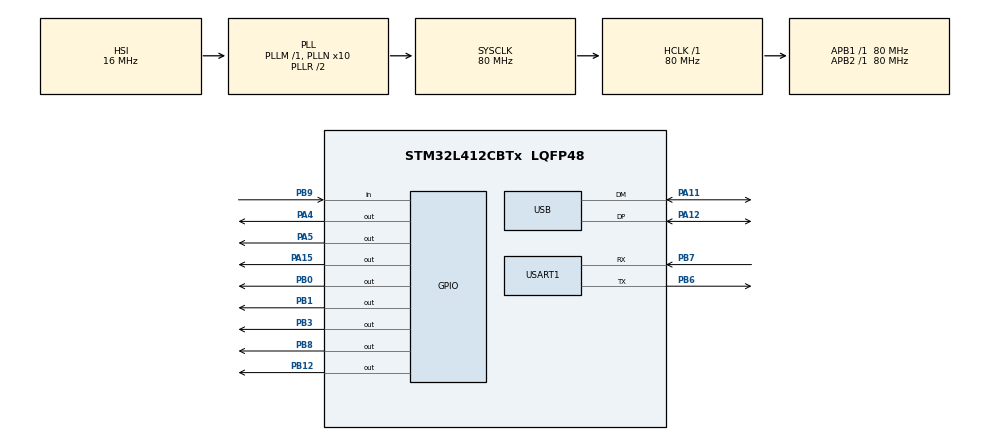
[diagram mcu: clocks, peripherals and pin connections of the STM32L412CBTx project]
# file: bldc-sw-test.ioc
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Mcu.Family=STM32L4
Mcu.Name=STM32L412CBTx
Mcu.Package=LQFP48
NVIC.PriorityGroup=NVIC_PRIORITYGROUP_4
NVIC.USB_IRQn=true\:0\:0\:false\:false\:true\:false\:true\:true
PA1.Signal=SPI1_SCK
PA10.Signal=I2C1_SDA
PA11.Mode=Device
PA11.Signal=USB_DM
PA12.Mode=Device
PA12.Signal=USB_DP
PA15\ (JTDI).Signal=GPIO_Output
PA2.Signal=USART2_TX
PA3.Signal=USART2_RX
PA4.Signal=GPIO_Output
PA5.Signal=GPIO_Output
PA6.Signal=SPI1_MISO
PA7.Signal=I2C3_SCL
PA9.Signal=I2C1_SCL
PB0.Signal=GPIO_Output
PB1.Signal=GPIO_Output
PB10.Signal=I2C2_SCL
PB11.Signal=I2C2_SDA
PB12.Signal=GPIO_Output
PB13.Signal=SPI2_SCK
PB14.Signal=SPI2_MISO
PB15.Signal=SPI2_MOSI
PB3\ (JTDO/TRACESWO).Signal=GPIO_Output
PB4\ (NJTRST).Signal=I2C3_SDA
PB5.Signal=SPI1_MOSI
PB6.Mode=Asynchronous
PB6.Signal=USART1_TX
PB7.Mode=Asynchronous
PB7.Signal=USART1_RX
PB8.Signal=GPIO_Output
PB9.Signal=GPIO_Input
ProjectManager.HeapSize=0x200
ProjectManager.StackSize=0x400
ProjectManager.TargetToolchain=STM32CubeIDE
RCC.ADCFreq_Value=80000000
RCC.AHBFreq_Value=80000000
RCC.APB1Freq_Value=80000000
RCC.APB1TimFreq_Value=80000000
RCC.APB2Freq_Value=80000000
RCC.APB2TimFreq_Value=80000000
RCC.CortexFreq_Value=80000000
RCC.HCLKFreq_Value=80000000
RCC.HSE_VALUE=8000000
RCC.HSI48_VALUE=48000000
RCC.HSI_VALUE=16000000
RCC.LSE_VALUE=32768
RCC.MSIClockRange=RCC_MSIRANGE_11
RCC.MSI_VALUE=48000000
RCC.PLLN=10
RCC.PLLSourceVirtual=RCC_PLLSOURCE_HSI
RCC.SYSCLKFreq_VALUE=80000000
RCC.SYSCLKSource=RCC_SYSCLKSOURCE_PLLCLK
RCC.USBFreq_Value=48000000
RCC.VCOOutputFreq_Value=160000000
USART1.VirtualMode-Asynchronous=VM_ASYNC
USB_DEVICE.CLASS_NAME_FS=CDC
USB_DEVICE.VirtualMode=Cdc
USB_DEVICE.VirtualModeFS=Cdc_FS
VP_USB_DEVICE_VS_USB_DEVICE_CDC_FS.Mode=CDC_FS
board=custom

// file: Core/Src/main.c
/* USER CODE BEGIN Header */
/**
  ******************************************************************************
  * @file           : main.c
  * @brief          : Main program body
  ******************************************************************************
  * @attention
  *
  * Copyright (c) 2026 STMicroelectronics.
  * All rights reserved.
  *
  * This software is licensed under terms that can be found in the LICENSE file
  * in the root directory of this software component.
  * If no LICENSE file comes with this software, it is provided AS-IS.
  *
  ******************************************************************************
  */
/* USER CODE END Header */
#include "main.h"
#include "usb_device.h"

/* USER CODE BEGIN Includes */
#include "usbd_cdc_if.h"
#include "string.h"
#include "tmc/ic/TMC9660/TMC9660.h"
#include "tmc/ic/TMC9660/TMC9660_BL_HW_Abstraction.h"
#include "tmc/ic/TMC9660/TMC9660_PARAM_HW_Abstraction.h"
#include <stdio.h>
#include <stdarg.h>
/* USER CODE END Includes */

UART_HandleTypeDef huart1;

/* USER CODE BEGIN PV */
uint16_t tmc9660_id = 0;
int32_t chipID = 0;
uint8_t tmc_detected = false;
/* USER CODE END PV */

void SystemClock_Config(void);
static void MX_GPIO_Init(void);
static void MX_USART1_UART_Init(void);
/* USER CODE BEGIN PFP */
bool tmc9660_app_GotoBootMode(uint16_t icID);
void tmc9660_UART_WriteRead(uint8_t channel, uint8_t *data, size_t writeLength, size_t readLength);
void UART_Printf(const char* fmt, ...);
void tmc9660_app_HoldInResetUntilReady(void);
void tmc9660_app_ReportConditionAndHalt(void);
bool tmc9660_app_VerifyPLLStatus(uint16_t icID);
void tmc9660_app_DebugStatus(uint16_t icID);
void tmc9660_app_DebugGeneralStatus(uint16_t icID);
void tmc9660_app_DebugGeneralErrors(uint16_t icID);
void tmc9660_app_DebugGDRVErrors(uint16_t icID);
bool tmc9660_app_ClearErrorsManual(uint16_t icID, uint32_t sysMask, uint32_t gdrvMask);
void tmc9660_app_EnableDrive(void);
void tmc9660_app_DisableDrive(void);
/* USER CODE END PFP */

/* USER CODE BEGIN 0 */
/* Implementation of mandatory timestamp callback */
uint32_t tmc_getMicrosecondTimestamp(void)
{
    /* Return a value in microseconds.
       This example assumes a 80MHz SystemCoreClock. */
    return (uint32_t)(HAL_GetTick() * 1000);
}

/* Mandatory bus type callback */
TMC9660BusType tmc9660_getBusType(uint16_t icID)
{
    return TMC9660_BUS_UART;
}

/* Mandatory bus address callback */
TMC9660BusAddresses tmc9660_getBusAddresses(uint16_t icID)
{
    TMC9660BusAddresses addr;
    addr.device = 1;   // Default device address
    addr.host = 255;   // Default host address
    return addr;
}

/* Mandatory physical UART transport callback */
bool tmc9660_readWriteUART(uint16_t icID, uint8_t *data, size_t writeLength, size_t readLength)
{
	/*
	 * typedef enum
		{
		  HAL_OK       = 0x00,
		  HAL_ERROR    = 0x01,
		  HAL_BUSY     = 0x02,
		  HAL_TIMEOUT  = 0x03
		} HAL_StatusTypeDef;
	 */
	// 1. Transmit the command
	if (HAL_UART_Transmit(&huart1, data, (uint16_t)writeLength, 100) != HAL_OK) return false;

	// 2. Receive the reply
	if (readLength > 0)
	{
		uint8_t byteIn = 0;

		// --- THE FIX: Line-Turnaround Glitch Filter ---
		// Read bytes one by one until we get a non-zero byte.
		// This silently discards the 0x00 glitch and captures the true start byte (e.g., 255).
		do {
			HAL_StatusTypeDef status = HAL_UART_Receive(&huart1, &byteIn, 1, 50);
			if (status != HAL_OK) {
				return false; // Timeout
			}
		} while (byteIn == 0x00);

		// Store the first valid byte (255) at the correct index (0)
		data[0] = byteIn;

		// Read the remaining bytes of the datagram (which will now include the CRC!)
		if (readLength > 1) {
			if (HAL_UART_Receive(&huart1, &data[1], (uint16_t)(readLength - 1), 100) != HAL_OK) {
				return false;
			}
		}
	}

	return true;
}
/* Debug Helper: Print formatted strings to USART2 (PC Terminal) */
void UART_Printf(const char* fmt, ...) {
    char buf[128];
    va_list args;
    va_start(args, fmt);
    int len = vsnprintf(buf, sizeof(buf), fmt, args);
    va_end(args);
    if (len > 0) CDC_Transmit_FS((uint8_t*)buf, len);

    // Allow Print to goto serial
    // TODO: MUST REMOVE DELAY if ported to RTOS
    HAL_Delay(5);
}

void Test_TMC9660_Status(int32_t status) {
    TMC9660ParamStatus test = (TMC9660ParamStatus)status;

    switch (test) {
        case TMC9660_PARAMSTATUS_CHKERROR:
            UART_Printf("STATUS: TMC9660_PARAMSTATUS_CHKERROR (Checksum error during communication)\r\n");
            break;
        case TMC9660_PARAMSTATUS_INVALID_CMD:
            UART_Printf("STATUS: TMC9660_PARAMSTATUS_INVALID_CMD (Invalid command number)\r\n");
            break;
        case TMC9660_PARAMSTATUS_WRONG_TYPE:
            UART_Printf("STATUS: TMC9660_PARAMSTATUS_WRONG_TYPE (Invalid type number)\r\n");
            break;
        case TMC9660_PARAMSTATUS_INVALID_VALUE:
            UART_Printf("STATUS: TMC9660_PARAMSTATUS_INVALID_VALUE (Invalid value)\r\n");
            break;
        case TMC9660_PARAMSTATUS_CMD_NOT_AVAILABLE:
            UART_Printf("STATUS: TMC9660_PARAMSTATUS_CMD_NOT_AVAILABLE (Command currently not available)\r\n");
            break;
        case TMC9660_PARAMSTATUS_CMD_LOAD_ERROR:
            UART_Printf("STATUS: TMC9660_PARAMSTATUS_CMD_LOAD_ERROR (Failed to load command into script memory)\r\n");
            break;
        case TMC9660_PARAMSTATUS_MAX_EXCEEDED:
            UART_Printf("STATUS: TMC9660_PARAMSTATUS_MAX_EXCEEDED (Maximum exceeded)\r\n");
            break;
        case TMC9660_PARAMSTATUS_CMD_DOWNLOAD_NOT_POSSIBLE:
            UART_Printf("STATUS: TMC9660_PARAMSTATUS_CMD_DOWNLOAD_NOT_POSSIBLE (Script memory loading not available)\r\n");
            break;
        case TMC9660_PARAMSTATUS_OK:
            UART_Printf("STATUS: TMC9660_PARAMSTATUS_OK (Success)\r\n");
            break;
        case TMC9660_PARAMSTATUS_CMD_LOADED:
            UART_Printf("STATUS: TMC9660_PARAMSTATUS_CMD_LOADED (Command successfully loaded into script memory)\r\n");
            break;
        default:
            UART_Printf("STATUS: UNKNOWN (Code: %ld)\r\n", status);
            break;
    }
}

/* * Holds the TMC9660 in hardware reset and waits for a user start command.
 * Note: Uses PA15 (RSTN) and monitors PB9 (FAULTN) per schematic labels.
 */
void tmc9660_app_HoldInResetUntilReady(void) {
    uint8_t user_cmd = 0;
    extern uint8_t UserRxBufferFS[]; // From usbd_cdc_if.c

    // 1. Assert Hardware Reset (Active Low)
    HAL_GPIO_WritePin(GPIOA, GPIO_PIN_15, GPIO_PIN_RESET);

    // 2. Ensure Wake is high (PB8 is DRIVER_WAKE in schematic)
    HAL_GPIO_WritePin(GPIOB, GPIO_PIN_8, GPIO_PIN_SET);

    // 3. Ensure Drive_En is low (PB3)
    HAL_GPIO_WritePin(GPIOB, GPIO_PIN_3, GPIO_PIN_RESET);

    UART_Printf("\r\n[SYSTEM] TMC9660 held in RESET to prevent brownout.\r\n");
    UART_Printf("[SYSTEM] Wait for DC link capacitors to stabilize...\r\n");
    UART_Printf("[SYSTEM] Press 's' to release driver and start init: ");

    // 3. Blocking loop until 's' is received via USB CDC
    while (user_cmd != 's') {
        // Simple polling of the CDC receive buffer
        if (UserRxBufferFS[0] != 0) {
            user_cmd = UserRxBufferFS[0];
            UserRxBufferFS[0] = 0; // Clear for next use
        }

        // Optional: Monitor Fault pin (PB9) while waiting
        if (HAL_GPIO_ReadPin(GPIOB, GPIO_PIN_9) == GPIO_PIN_RESET) {
            // Add warning if driver indicates a hardware fault during standby
        }

        HAL_Delay(10);
    }

    // 5. Release Reset
    HAL_GPIO_WritePin(GPIOA, GPIO_PIN_15, GPIO_PIN_SET);

    // 6. Delay Block
    HAL_Delay(100); // Allow TMC9660 internal LDOs to ramp up
    UART_Printf("\r\n[SYSTEM] Driver Released. Proceeding to Init...\r\n");
}

/**
 * @brief Protects the system by disabling the driver and reporting status.
 * To be called in Error_Handler or safety-critical loops.
 */
void tmc9660_app_ReportConditionAndHalt(void) {
    // 1. Assert Safe State (Active Off)
    // DRIVER_DRV_EN (PB3): Setting LOW to disable the gate driver bridge
    HAL_GPIO_WritePin(GPIOB, GPIO_PIN_3, GPIO_PIN_RESET);

    // DRIVER_RSTN (PA15): Pulling LOW to hold the TMC9660 in Hardware Reset
    HAL_GPIO_WritePin(GPIOA, GPIO_PIN_15, GPIO_PIN_RESET);

    // 2. Read Fault Condition
    GPIO_PinState fault_state = HAL_GPIO_ReadPin(GPIOB, GPIO_PIN_9);

    // 3. Serial Reporting
    UART_Printf("\r\n[FATAL] System Halted for Protection.\r\n");
    if (fault_state == GPIO_PIN_RESET) {
        UART_Printf("[STATUS] DRIVER_FAULTN: ACTIVE (Fault Detected)\r\n");
    } else {
        UART_Printf("[STATUS] DRIVER_FAULTN: CLEAR (Software/Logic Error)\r\n");
    }

    // 4. Visual Warning: Solid Red LED
    HAL_GPIO_WritePin(GPIOB, GPIO_PIN_1, GPIO_PIN_SET);
}

/**
 * @brief Verifies that the TMC9660 PLL is locked and correctly configured.
 * Target: 40MHz system clock with internal oscillator.
 * @return bool True if PLL is locked and settings match required 40MHz operation.
 */
bool tmc9660_app_VerifyPLLStatus(uint16_t icID) {
    uint32_t regValue = 0;
    uint32_t dummy = 0;

    // 1. Set the Bootloader address to the Clock Config register
    // Address: 0x00020018
    if (tmc9660_bl_sendCommand(icID, TMC9660_BLCMD_SET_ADDRESS, CONFIG_BOOT_0C_CLK_SEL_INIT, &dummy) != TMC9660_BLSTATUS_OK) {
        return false;
    }

    // 2. Read the 32-bit register value
    if (tmc9660_bl_sendCommand(icID, TMC9660_BLCMD_READ_32, 0, &regValue) != TMC9660_BLSTATUS_OK) {
        return false;
    }

    // 3. Extract Fields using the Library Macros
    uint8_t pll_lock = (uint8_t)field_extract32(regValue, CONFIG_BOOT_0C_CLK_SEL_INIT_PLL_STATUS_FIELD);
    uint8_t out_sel  = (uint8_t)field_extract32(regValue, CONFIG_BOOT_0C_CLK_SEL_INIT_PLL_OUT_SEL_FIELD);
    uint8_t clk_div  = (uint8_t)field_extract32(regValue, CONFIG_BOOT_0C_CLK_SEL_INIT_SYS_CLK_DIV_FIELD);

    // 4. Report Status over Serial
    UART_Printf("\r\n--- PLL HARDWARE CHECK ---\r\n");
    UART_Printf("[STATUS] Lock Bit: %s\r\n", (pll_lock == 1) ? "LOCKED" : "UNLOCKED (FAIL)");
    UART_Printf("[STATUS] OUT_SEL : %d (Expect 1 for PLL)\r\n", out_sel);
    UART_Printf("[STATUS] CLK_DIV : %d (Expect 0 for 40MHz)\r\n", clk_div);

    // 5. Logical Verification
    // Success requires Lock bit active AND System clock routed through the PLL (OUT_SEL=1)
    // and no further division (SYS_CLK_DIV=0)
    if (pll_lock == 1 && out_sel == 1 && clk_div == 0) {
        UART_Printf("[RESULT] Clock stable at 40MHz.\r\n");
        return true;
    }
	UART_Printf("[RESULT] PLL Configuration Failed!\r\n");

    return false;
}

void tmc9660_app_DebugStatus(uint16_t icID) {
    // Read the Status Flags (Parameters 110, 300)
	tmc9660_app_DebugGeneralStatus(icID);
	tmc9660_app_DebugGeneralErrors(icID);
	tmc9660_app_DebugGDRVErrors(icID);
}

/**
 * @brief Reports all active General Status flags.
 * Uses TMC9660_PARAM_GENERAL_STATUS_FLAGS (289).
 */
void tmc9660_app_DebugGeneralStatus(uint16_t icID) {
    uint32_t status = tmc9660_param_getParameter(icID, TMC9660_PARAM_GENERAL_STATUS_FLAGS);
    if (status == 0) return;

    UART_Printf("\r\n--- TMC9660 GENERAL STATUS ---\r\n");
    UART_Printf("[STATUS] Raw: 0x%08lX\r\n", status);

    // --- Regulation Modes ---
    if (status & 0x00000001) UART_Printf(" . REGULATION_STOPPED\r\n");
    if (status & 0x00000002) UART_Printf(" . REGULATION_TORQUE_ACTIVE\r\n");
    if (status & 0x00000004) UART_Printf(" . REGULATION_VELOCITY_ACTIVE\r\n");
    if (status & 0x00000008) UART_Printf(" . REGULATION_POSITION_ACTIVE\r\n");

    // --- Configuration State ---
    if (status & 0x00000010) UART_Printf(" . CONFIG_STORED_SUCCESS\r\n");
    if (status & 0x00000020) UART_Printf(" . CONFIG_LOADED_SUCCESS\r\n");
    if (status & 0x00000040) UART_Printf(" . CONFIG_READ_ONLY\r\n");
    if (status & 0x00000080) UART_Printf(" . TMCL_SCRIPT_READ_ONLY\r\n");

    // --- Motion & Protection ---
    if (status & 0x00000100) UART_Printf(" . BRAKE_CHOPPER_ACTIVE\r\n");
    if (status & 0x00000200) UART_Printf(" . POSITION_REACHED\r\n");
    if (status & 0x00000400) UART_Printf(" . VELOCITY_REACHED\r\n");
    if (status & 0x00000800) UART_Printf(" . ADC_OFFSET_CALIBRATED\r\n");

    // --- Ramper Status ---
    if (status & 0x00001000) UART_Printf(" . RAMPER_LATCHED\r\n");
    if (status & 0x00002000) UART_Printf(" . RAMPER_EVENT_STOP_SWITCH\r\n");
    if (status & 0x00004000) UART_Printf(" . RAMPER_EVENT_STOP_DEVIATION\r\n");
    if (status & 0x00008000) UART_Printf(" . RAMPER_VELOCITY_REACHED\r\n");
    if (status & 0x00010000) UART_Printf(" . RAMPER_POSITION_REACHED\r\n");
    if (status & 0x00020000) UART_Printf(" . RAMPER_SECOND_MOVE_REQUIRED\r\n");

    // --- Monitoring & Braking ---
    if (status & 0x00040000) UART_Printf(" . IIT_1_MONITOR_ACTIVE\r\n");
    if (status & 0x00080000) UART_Printf(" . IIT_2_MONITOR_ACTIVE\r\n");
    if (status & 0x00100000) UART_Printf(" . REFSEARCH_FINISHED\r\n");
    if (status & 0x00200000) UART_Printf(" . Y2_USED_FOR_BRAKING\r\n");

    // --- Hardware Peripheral Availability ---
    if (status & 0x00800000) UART_Printf(" . STEPDIR_INPUT_AVAILABLE\r\n");
    if (status & 0x01000000) UART_Printf(" . RIGHT_REF_SWITCH_AVAILABLE\r\n");
    if (status & 0x02000000) UART_Printf(" . HOME_REF_SWITCH_AVAILABLE\r\n");
    if (status & 0x04000000) UART_Printf(" . LEFT_REF_SWITCH_AVAILABLE\r\n");
    if (status & 0x08000000) UART_Printf(" . ABN2_FEEDBACK_AVAILABLE\r\n");
    if (status & 0x10000000) UART_Printf(" . HALL_FEEDBACK_AVAILABLE\r\n");
    if (status & 0x20000000) UART_Printf(" . ABN1_FEEDBACK_AVAILABLE\r\n");
    if (status & 0x40000000) UART_Printf(" . SPI_FLASH_AVAILABLE\r\n");
    if (status & 0x80000000) UART_Printf(" . I2C_EEPROM_AVAILABLE\r\n");
}

void tmc9660_app_DebugGDRVErrors(uint16_t icID) {
    uint32_t gdrv = tmc9660_param_getParameter(icID, TMC9660_PARAM_GDRV_ERROR_FLAGS);
    if (gdrv == 0) return;

    UART_Printf("\r\n[GDRV FAULT] Raw: 0x%08lX\r\n", gdrv);

    // --- LOW SIDE OVERCURRENT ---
    if (gdrv & 0x00000001) UART_Printf(" ! U_LOW_SIDE_OVERCURRENT\r\n");
    if (gdrv & 0x00000002) UART_Printf(" ! V_LOW_SIDE_OVERCURRENT\r\n");
    if (gdrv & 0x00000004) UART_Printf(" ! W_LOW_SIDE_OVERCURRENT\r\n");
    if (gdrv & 0x00000008) UART_Printf(" ! Y2_LOW_SIDE_OVERCURRENT\r\n");

    // --- LOW SIDE DISCHARGE SHORT ---
    if (gdrv & 0x00000010) UART_Printf(" ! U_LOW_SIDE_DISCHARGE_SHORT\r\n");
    if (gdrv & 0x00000020) UART_Printf(" ! V_LOW_SIDE_DISCHARGE_SHORT\r\n");
    if (gdrv & 0x00000040) UART_Printf(" ! W_LOW_SIDE_DISCHARGE_SHORT\r\n");
    if (gdrv & 0x00000080) UART_Printf(" ! Y2_LOW_SIDE_DISCHARGE_SHORT\r\n");

    // --- LOW SIDE CHARGE SHORT ---
    if (gdrv & 0x00000100) UART_Printf(" ! U_LOW_SIDE_CHARGE_SHORT\r\n");
    if (gdrv & 0x00000200) UART_Printf(" ! V_LOW_SIDE_CHARGE_SHORT\r\n");
    if (gdrv & 0x00000400) UART_Printf(" ! W_LOW_SIDE_CHARGE_SHORT\r\n");
    if (gdrv & 0x00000800) UART_Printf(" ! Y2_LOW_SIDE_CHARGE_SHORT\r\n");

    // --- BOOTSTRAP UNDERVOLTAGE ---
    if (gdrv & 0x00001000) UART_Printf(" ! U_BOOTSTRAP_UNDERVOLTAGE\r\n");
    if (gdrv & 0x00002000) UART_Printf(" ! V_BOOTSTRAP_UNDERVOLTAGE\r\n");
    if (gdrv & 0x00004000) UART_Printf(" ! W_BOOTSTRAP_UNDERVOLTAGE\r\n");
    if (gdrv & 0x00008000) UART_Printf(" ! Y2_BOOTSTRAP_UNDERVOLTAGE\r\n");

    // --- HIGH SIDE OVERCURRENT ---
    if (gdrv & 0x00010000) UART_Printf(" ! U_HIGH_SIDE_OVERCURRENT\r\n");
    if (gdrv & 0x00020000) UART_Printf(" ! V_HIGH_SIDE_OVERCURRENT\r\n");
    if (gdrv & 0x00040000) UART_Printf(" ! W_HIGH_SIDE_OVERCURRENT\r\n");
    if (gdrv & 0x00080000) UART_Printf(" ! Y2_HIGH_SIDE_OVERCURRENT\r\n");

    // --- HIGH SIDE DISCHARGE SHORT ---
    if (gdrv & 0x00100000) UART_Printf(" ! U_HIGH_SIDE_DISCHARGE_SHORT\r\n");
    if (gdrv & 0x00200000) UART_Printf(" ! V_HIGH_SIDE_DISCHARGE_SHORT\r\n");
    if (gdrv & 0x00400000) UART_Printf(" ! W_HIGH_SIDE_DISCHARGE_SHORT\r\n");
    if (gdrv & 0x00800000) UART_Printf(" ! Y2_HIGH_SIDE_DISCHARGE_SHORT\r\n");

    // --- HIGH SIDE CHARGE SHORT  ---
    if (gdrv & 0x01000000) UART_Printf(" ! U_HIGH_SIDE_CHARGE_SHORT\r\n");
    if (gdrv & 0x02000000) UART_Printf(" ! V_HIGH_SIDE_CHARGE_SHORT\r\n");
    if (gdrv & 0x04000000) UART_Printf(" ! W_HIGH_SIDE_CHARGE_SHORT\r\n");
    if (gdrv & 0x08000000) UART_Printf(" ! Y2_HIGH_SIDE_CHARGE_SHORT\r\n");

    // --- GLOBAL GATE DRIVER ERRORS ---
    if (gdrv & 0x20000000) UART_Printf(" ! GDRV_UNDERVOLTAGE (Logic Rail Fail)\r\n");
    if (gdrv & 0x40000000) UART_Printf(" ! GDRV_LOW_VOLTAGE (Marginal Logic Rail)\r\n");
    if (gdrv & 0x80000000) UART_Printf(" ! GDRV_SUPPLY_UNDERVOLTAGE (VEXT1 fail)\r\n");
}

void tmc9660_app_DebugGeneralErrors(uint16_t icID) {
    uint32_t err = tmc9660_param_getParameter(icID, TMC9660_PARAM_GENERAL_ERROR_FLAGS);
    if (err == 0) return;

    UART_Printf("\r\n[SYS ERROR] Raw: 0x%08lX\r\n", err);
    if (err & 0x00000001) UART_Printf(" ! CONFIG_ERROR\r\n");
    if (err & 0x00000002) UART_Printf(" ! TMCL_SCRIPT_ERROR\r\n");
    if (err & 0x00000004) UART_Printf(" ! HOMESWTICH_NOT_FOUND\r\n");
    if (err & 0x00000020) UART_Printf(" ! HALL_ERROR\r\n");
    if (err & 0x00000200) UART_Printf(" ! WATCHDOG_EVENT\r\n");
    if (err & 0x00002000) UART_Printf(" ! EXT_TEMP_EXCEEDED\r\n");
    if (err & 0x00004000) UART_Printf(" ! CHIP_TEMP_EXCEEDED\r\n");
    if (err & 0x00010000) UART_Printf(" ! I2T_1_EXCEEDED\r\n");
    if (err & 0x00020000) UART_Printf(" ! I2T_2_EXCEEDED\r\n");
    if (err & 0x00040000) UART_Printf(" ! EXT_TEMP_WARNING\r\n");
    if (err & 0x00080000) UART_Printf(" ! SUPPLY_OVERVOLTAGE_WARNING\r\n");
    if (err & 0x00100000) UART_Printf(" ! SUPPLY_UNDERVOLTAGE_WARNING\r\n");
    if (err & 0x00200000) UART_Printf(" ! ADC_IN_OVERVOLTAGE\r\n");
    if (err & 0x00400000) UART_Printf(" ! FAULT_RETRY_HAPPENED\r\n");
    if (err & 0x00800000) UART_Printf(" ! FAULT_RETRIES_FAILED\r\n");
    if (err & 0x01000000) UART_Printf(" ! CHIP_TEMP_WARNING\r\n");
    if (err & 0x04000000) UART_Printf(" ! HEARTBEAT_STOPPED\r\n");
}

/**
 * @brief Clears active latching errors using setParameter (SAP) and verifies the result.
 * @param icID The identifier for the IC.
 * @param sysMask Bitmask for General Error Flags (Param 299).
 * @param gdrvMask Bitmask for Gate Driver Error Flags (Param 300).
 * @return bool True if all RWC bits in the provided masks were successfully cleared.
 */
bool tmc9660_app_ClearErrorsManual(uint16_t icID, uint32_t sysMask, uint32_t gdrvMask) {
  // 1. Clear latching General Errors (RWC bits, e.g., 0x20 for HALL_ERROR)
  //
  if (sysMask != 0) {
    tmc9660_param_setParameter(icID, TMC9660_PARAM_GENERAL_ERROR_FLAGS, sysMask);
  }

  // 2. Clear latching Gate Driver Errors (All bits are RWC)
  if (gdrvMask != 0) {
    tmc9660_param_setParameter(icID, TMC9660_PARAM_GDRV_ERROR_FLAGS, gdrvMask);
  }

  // 3. Small delay to allow internal state machines to update
  HAL_Delay(25);

  // 4. Read back and verify
  uint32_t sysActual = tmc9660_param_getParameter(icID, TMC9660_PARAM_GENERAL_ERROR_FLAGS);
  uint32_t gdrvActual = tmc9660_param_getParameter(icID, TMC9660_PARAM_GDRV_ERROR_FLAGS);

  // Note: Bits 0 and 1 of Param 299 (CONFIG/SCRIPT) are Read-Only status indicators
  // and will only clear when the underlying configuration is valid.
  uint32_t remainingSys = sysActual & sysMask;
  uint32_t remainingGdrv = gdrvActual & gdrvMask;

  if (remainingSys == 0 && remainingGdrv == 0) {
    UART_Printf("[CLEAR] Success: Requested latching bits cleared.\r\n");
    return true;
  }

  UART_Printf("[CLEAR] Failed: Flags 0x%08lX (SYS) and 0x%08lX (GDRV) still active.\r\n", remainingSys, remainingGdrv);
  return false;
}

void tmc9660_app_EnableDrive(void) {
	// Set Drive_En is HIGH (PB3)
	HAL_GPIO_WritePin(GPIOB, GPIO_PIN_3, GPIO_PIN_SET);
}

void tmc9660_app_DisableDrive(void) {
	// Set Drive_En is LOW (PB3)
	HAL_GPIO_WritePin(GPIOB, GPIO_PIN_3, GPIO_PIN_RESET);
}

void ERR_Handler(int line) {
	UART_Printf("\nFailure @ line: %d\n", line);
	tmc9660_app_ReportConditionAndHalt();
	while(1) {};
}

bool tmc9660_app_GotoBootMode(uint16_t icID) {
	// assuming tmc9660_id global set
	bool ret = false;
	uint32_t rVal = 0;
	TMC9660BlStatus blStatus;

	// 1. Try returning from Register Mode
	// TODO: improve TMC-API to return device status byte reply
    tmc9660_reg_returnToBootloader(icID);
    HAL_Delay(100); // Delay for possible Init

    // 2. Try returning from Parameter Mode
    // TODO: improve TMC-API to return device status byte reply
    tmc9660_param_returnToBootloader(icID);
    HAL_Delay(100); // Delay for possible Init

	// 3. Confirm Boot Mode
	blStatus = tmc9660_bl_sendCommand(icID, TMC9660_BLCMD_GET_INFO, 0, &rVal);
	if ( blStatus == TMC9660_BLSTATUS_OK ) {
		ret = true;
	}

	return ret;
}

/**
 * @brief Converts TMC9660 raw voltage units (100mV) to Millivolts (mV).
 * @param volt100mV Raw value from IC (e.g., 80 for 8.0V).
 * @return uint32_t Equivalent value in millivolts (e.g., 8000).
 */
static inline uint32_t tmc9660_app_volt100mVtoMV(uint32_t volt100mV) {
    return volt100mV * 100;
}

/* Helper: Step 1 - Verify Motor Supply Voltage >= 8V */
static bool verifyMotorVoltage(uint16_t icID) {
    // 1. Get raw parameter (Units: 100mV)
	// TODO: prefer to expose TMC9660ParamStatus device status reply in TMC-API
    uint32_t raw_voltage = tmc9660_param_getParameter(icID, TMC9660_PARAM_SUPPLY_VOLTAGE);

    // 2. Convert to Millivolts (mV)
    uint32_t voltage_mv = tmc9660_app_volt100mVtoMV(raw_voltage);

    // 3. Perform threshold check (8000mV)
    if (voltage_mv < 8000) {
        UART_Printf("Error: Voltage is %ld mV (threshold 8000 mV)\r\n", voltage_mv);
        return false;
    }

    return true;
}

bool tmc9660_app_setupQBL5704BLDCHallFeedbackTest(uint16_t icID) {
    UART_Printf("\r\n--- Starting QBL5704 Setup ---\r\n");

    // 1. Existing Setup (Motor Type, Pole Pairs, etc.)
    if (!verifyMotorVoltage(icID)) return false;
    tmc9660_param_setParameter(icID, TMC9660_PARAM_MOTOR_TYPE, 3);
    tmc9660_param_setParameter(icID, TMC9660_PARAM_MOTOR_POLE_PAIRS, 2);

    // 2. THE FIX: Configure Gate Drive BBM (Deadtime)
    // BBM_LOW_UVW (235) and BBM_HIGH_UVW (236). Value 60 ≈ 500ns.
    tmc9660_param_setParameter(icID, TMC9660_PARAM_BREAK_BEFORE_MAKE_TIME_LOW_UVW, 60);
    tmc9660_param_setParameter(icID, TMC9660_PARAM_BREAK_BEFORE_MAKE_TIME_HIGH_UVW, 60);

    // 3. THE FIX: Increase Voltage Limit
    // Increasing from 240 to 8000 (Default) to ensure PWM generation.
    tmc9660_param_setParameter(icID, TMC9660_PARAM_OUTPUT_VOLTAGE_LIMIT, 8000);

    // 4. THE FIX: Bootstrap Pre-charge
    // Set COMMUTATION_MODE (4) to mode 1 (LOW_SIDE_ON) momentarily.
    tmc9660_param_setParameter(icID, TMC9660_PARAM_COMMUTATION_MODE, 1);
    HAL_Delay(50);

    // 5. Set final commutation mode
    tmc9660_param_setParameter(icID, TMC9660_PARAM_COMMUTATION_MODE, 6);

    UART_Printf("--- QBL5704 Setup Successful ---\r\n");
    return true;
}

/**
 * @brief Performs electrical alignment using Open Loop Current Mode (4).
 * @param icID The identifier for the IC.
 * @return bool True if alignment was successful.
 */
bool tmc9660_app_alignQBL5704HallOffset(uint16_t icID) {
    uint32_t hall_angle_at_zero = 0;

    UART_Printf("\r\n--- Starting Hall Alignment (Current Mode 4) ---\r\n");

    // 1. Enter Open Loop Current Mode (4)
    tmc9660_param_setParameter(icID, TMC9660_PARAM_COMMUTATION_MODE, 4);

    // 2. Set the target electrical angle to 0
    tmc9660_param_setParameter(icID, TMC9660_PARAM_OPENLOOP_ANGLE, 0);

    // 3. Apply alignment current (e.g., 800 units for QBL5704)
    // This locks the rotor to the magnetic 0° position.
    tmc9660_param_setParameter(icID, TMC9660_PARAM_OPENLOOP_CURRENT, 800);

    // 4. Wait for the rotor to physically settle at the magnetic pole
    HAL_Delay(1200);

    // 5. Read the raw Hall electrical angle
    hall_angle_at_zero = tmc9660_param_getParameter(icID, TMC9660_PARAM_HALL_PHI_E);

    UART_Printf("Rotor Locked at 0 deg. Hall Angle Reported: %ld\r\n", hall_angle_at_zero);

    // 6. Set the Offset to bridge the gap between Sensor 0 and Magnetic 0
    tmc9660_param_setParameter(icID, TMC9660_PARAM_HALL_PHI_E_OFFSET, hall_angle_at_zero);

    // 7. Cleanup: Disable current and return to a safe state
    tmc9660_param_setParameter(icID, TMC9660_PARAM_OPENLOOP_CURRENT, 0);
    tmc9660_param_setParameter(icID, TMC9660_PARAM_COMMUTATION_MODE, 0);

    UART_Printf("Offset Programmed. IC now calibrated for QBL5704.\r\n");
    return true;
}

/**
 * @brief Simple test for the QBL5704 motor.
 * Sets safety limits and applies a 200mA torque command.
 */
bool tmc9660_app_runQBL5704BLDCHallFeedbackTest(uint16_t icID) {
	// 0. Setup Necessary Parameter Fields
	// Side Effect: COMMUTATION_MODE=FOC_HALL(6),
	bool test = tmc9660_app_setupQBL5704BLDCHallFeedbackTest(icID);
	if (test == false) {
		return false;
	}

    // 1. Set Maximum Current & Torque Limits (ID 6)
    // In FOC, these are controlled by the same parameter (Max Iq).
    // Setting to 1000 units (Assuming 1.0A / 1000mA limit).
    tmc9660_param_setParameter(icID, TMC9660_PARAM_MAX_TORQUE, 1000);

    // 2. Set Maximum Voltage Limit (ID 5)
    // Setting to 240 units (24.0V limit @ 100mV per unit).
    tmc9660_param_setParameter(icID, TMC9660_PARAM_OUTPUT_VOLTAGE_LIMIT, 240);

    // 3. Set Target Torque (ID 104)
    // Command a constant 200mA torque producing current (Iq).
    // This will cause the motor to spin if the Hall alignment is correct.
    tmc9660_param_setParameter(icID, TMC9660_PARAM_TARGET_TORQUE, 200);
    HAL_Delay(5000);
    tmc9660_param_setParameter(icID, TMC9660_PARAM_TARGET_TORQUE, 0);

    return true;
}
/* USER CODE END 0 */

int main(void)
{

  /* MCU Configuration--------------------------------------------------------*/

  /* Reset of all peripherals, Initializes the Flash interface and the Systick. */
  HAL_Init();

  /* Configure the system clock */
  SystemClock_Config();

  /* Initialize all configured peripherals */
  MX_GPIO_Init();
  MX_USB_DEVICE_Init();
  MX_USART1_UART_Init();
  /* USER CODE BEGIN 2 */
  uint32_t rVal = 0;
  TMC9660BlStatus blStatus;
  uint32_t reg = 0;

  HAL_Delay(2000);

  // Handle TMC9660 brownout at HV rail startup
  tmc9660_app_HoldInResetUntilReady();

  HAL_Delay(1000);

  UART_Printf("\r\n--- TMC9660 Boot Configuration ---\r\n");
  HAL_GPIO_WritePin(GPIOA, GPIO_PIN_4, GPIO_PIN_SET);

  // Can burn these to One-Time-Programming Memory, but not necessary
    // Instead, just run following code block on boot
    // Note: TMC9660's LDOs will lag according to SS_VEXTx_FIELD
    // Note: Fields in Steps #1-#5 are from TMC9660 Datasheet
    // Note: Fields in Steps #6 are from TMC9660 Parameter Mode Guide

    bool bootInit = tmc9660_app_GotoBootMode(tmc9660_id);
    if (bootInit == false) {
  	  UART_Printf("Failed to enter Boot Mode\n");
  	  ERR_Handler(__LINE__);
    }

    // Select CONFIG Bank 5
    blStatus = tmc9660_bl_sendCommand(tmc9660_id, TMC9660_BLCMD_SET_BANK, 5, &rVal);
    if (blStatus != TMC9660_BLSTATUS_OK) {
    	  ERR_Handler(__LINE__);
    }

    // 1. LDO & POWER
    // VEXT1=5.0V(3), Slope=3ms(0), VEXT2=3.3V(2), Slope=3ms(0), ShortFault=false(0)
    blStatus = tmc9660_bl_sendCommand(tmc9660_id, TMC9660_BLCMD_SET_ADDRESS, CONFIG_BOOT_00_POWER, &rVal);
    if (blStatus != TMC9660_BLSTATUS_OK) {
  	  ERR_Handler(__LINE__);
    }
    blStatus = tmc9660_bl_sendCommand(tmc9660_id, TMC9660_BLCMD_READ_16, 0, &reg);
    if (blStatus != TMC9660_BLSTATUS_OK) {
  	  ERR_Handler(__LINE__);
    }
    reg = field_update16(reg, CONFIG_BOOT_00_POWER_VEXT1_FIELD, 3); 				/* 0: LDO disabled
  																				 * 1: 2.5V
  																				 * 2: 3.3V
  																				 * 3: 5.0V <--
  																				 */
    reg = field_update16(reg, CONFIG_BOOT_00_POWER_SS_VEXT1_FIELD, 0);			/* 0: 3ms <--
  																				 * 1: 1.5ms
  																				 * 2: 0.75ms
  																				 * 3: 0.37ms
  																				 */
    reg = field_update16(reg, CONFIG_BOOT_00_POWER_VEXT2_FIELD, 2);				/* 0: LDO disabled
  																				 * 1: 2.5V
  																				 * 2: 3.3V <--
  																				 * 3: 5.0V
  																				 */
    reg = field_update16(reg, CONFIG_BOOT_00_POWER_SS_VEXT2_FIELD, 0);			/* 0: 3ms	<--
  																				 * 1: 1.5ms
  																				 * 2: 0.75ms
  																				 * 3: 0.37ms
  																				 */
    reg = field_update16(reg, CONFIG_BOOT_00_POWER_LDO_SHORT_FAULT_FIELD, 0);		// Default: 0
    blStatus = tmc9660_bl_sendCommand(tmc9660_id, TMC9660_BLCMD_SET_ADDRESS, CONFIG_BOOT_00_POWER, &rVal);
    if (blStatus != TMC9660_BLSTATUS_OK) {
  	  ERR_Handler(__LINE__);
    }
    blStatus = tmc9660_bl_sendCommand(tmc9660_id, TMC9660_BLCMD_WRITE_16, reg, &rVal);
    if (blStatus != TMC9660_BLSTATUS_OK) {
    	  ERR_Handler(__LINE__);
    }

    // 2. UART & ADDRESSES
    // ChipAddr=1, HostAddr=255
    blStatus = tmc9660_bl_sendCommand(tmc9660_id, TMC9660_BLCMD_SET_ADDRESS, CONFIG_BOOT_01_ADDRESS, &rVal);
    if (blStatus != TMC9660_BLSTATUS_OK) {
  	  ERR_Handler(__LINE__);
    }
    blStatus = tmc9660_bl_sendCommand(tmc9660_id, TMC9660_BLCMD_READ_16, 0, &reg);
    if (blStatus != TMC9660_BLSTATUS_OK) {
    	  ERR_Handler(__LINE__);
    }
    reg = field_update16(reg, CONFIG_BOOT_01_DEVICE_ADDRESS_FIELD, 1);			// Default: 1
    reg = field_update16(reg, CONFIG_BOOT_01_MASTER_ADDRESS_FIELD, 255);			// Default: 255
    blStatus = tmc9660_bl_sendCommand(tmc9660_id, TMC9660_BLCMD_SET_ADDRESS, CONFIG_BOOT_01_ADDRESS, &rVal);
    if (blStatus != TMC9660_BLSTATUS_OK) {
  	  ERR_Handler(__LINE__);
    }
    blStatus = tmc9660_bl_sendCommand(tmc9660_id, TMC9660_BLCMD_WRITE_16, reg, &rVal);
    if (blStatus != TMC9660_BLSTATUS_OK) {
  	  ERR_Handler(__LINE__);
    }

    // 3. INTERFACE CONFIG
    // UART Enable (Disable=0), SPI Slave Disable(1), TX=GPIO6(0), RX=GPIO7(0), Baud=auto16(7), SCK=GPIO11(1)
    blStatus = tmc9660_bl_sendCommand(tmc9660_id, TMC9660_BLCMD_SET_ADDRESS, CONFIG_BOOT_03_BOOT_INTERFACE, &rVal);
    if (blStatus != TMC9660_BLSTATUS_OK) {
  	  ERR_Handler(__LINE__);
    }
    blStatus = tmc9660_bl_sendCommand(tmc9660_id, TMC9660_BLCMD_READ_16, 0, &reg);
    if (blStatus != TMC9660_BLSTATUS_OK) {
  	  ERR_Handler(__LINE__);
    }
    reg = field_update16(reg, CONFIG_BOOT_03_INTERFACE_BL_DISABLE_UART_FIELD, 0); // Default: 0
    reg = field_update16(reg, CONFIG_BOOT_03_INTERFACE_BL_DISABLE_SPI_FIELD, 1);	// Default: 0
    reg = field_update16(reg, CONFIG_BOOT_03_INTERFACE_BL_UART_TX_FIELD, 0);		/* 0: GPIO6 <--
  																				 * 1: GPIO0
  																				 */
    reg = field_update16(reg, CONFIG_BOOT_03_INTERFACE_BL_UART_RX_FIELD, 0);		/* 0: GPIO7	<--
  																				 * 1: GPIO0
  																				 */
    reg = field_update16(reg, CONFIG_BOOT_03_INTERFACE_BL_UART_BAUDRATE_FIELD, 7);/* 0: 9600
  																				 * 1: 19200
  																				 * 2: 38400
  																				 * 3: 57600
  																				 * 4: 115200
  																				 * 5: 1000000
  																				 * 6: auto8
  																				 * 7: auto16 <--
  																				 */
    reg = field_update16(reg, CONFIG_BOOT_03_INTERFACE_BL_SPI0_SCK_FIELD, 1);		/* 0: GPIO6
  																				 * 1: GPIO11 <--
  																				 * Note: This is bit is only required for
  																				 * the SPI bootloader communication if it
  																				 * uses SPI0 (BL_SPI_SELECT=0)
  																				 */
    blStatus = tmc9660_bl_sendCommand(tmc9660_id, TMC9660_BLCMD_SET_ADDRESS, CONFIG_BOOT_03_BOOT_INTERFACE, &rVal);
    if (blStatus != TMC9660_BLSTATUS_OK) {
  	  ERR_Handler(__LINE__);
    }
    blStatus = tmc9660_bl_sendCommand(tmc9660_id, TMC9660_BLCMD_WRITE_16, reg, &rVal);
    if (blStatus != TMC9660_BLSTATUS_OK) {
  	  ERR_Handler(__LINE__);
    }

    // 4. SPI FLASH
    // Enable=true, CS=GPIO12, Freq=10MHz(3 @ 40MHz Sys)
    blStatus = tmc9660_bl_sendCommand(tmc9660_id, TMC9660_BLCMD_SET_ADDRESS, CONFIG_BOOT_05_FLASH, &rVal);
    if (blStatus != TMC9660_BLSTATUS_OK) {
  	  ERR_Handler(__LINE__);
    }
    blStatus = tmc9660_bl_sendCommand(tmc9660_id, TMC9660_BLCMD_READ_16, 0, &reg);
    if (blStatus != TMC9660_BLSTATUS_OK) {
  	  ERR_Handler(__LINE__);
    }
    reg = field_update16(reg, CONFIG_BOOT_05_SPI_FLASH_EN_FIELD, 1);				// Default: 0
    reg = field_update16(reg, CONFIG_BOOT_05_FLASH_SPI_CS_SW_FIELD, 12);			/* assuming this field is SPI_FLASH_CS from datasheet
  																				 * assign GPIO pin to SPI_FLASH chip select
  																				 */
    reg = field_update16(reg, CONFIG_BOOT_05_FLASH_SPI_DIV_FIELD, 3);				/* assuming this field is SPI_FLASH_FREQ from datasheet
  																				 * default .toml file sets SPI_FLASH_FREQ to 10MHz
  																				 * and datasheet shows: SPI_FLASH_FREQ=3 -> 10MHz
  																				 */
    blStatus = tmc9660_bl_sendCommand(tmc9660_id, TMC9660_BLCMD_SET_ADDRESS, CONFIG_BOOT_05_FLASH, &rVal);
    if (blStatus != TMC9660_BLSTATUS_OK) {
  	  ERR_Handler(__LINE__);
    }
    blStatus = tmc9660_bl_sendCommand(tmc9660_id, TMC9660_BLCMD_WRITE_16, reg, &rVal);
    if (blStatus != TMC9660_BLSTATUS_OK) {
  	  ERR_Handler(__LINE__);
    }

    // 5. CLOCK & PLL
    // ExtOsc(1), 16MHz(3), Boost=false(0), SysFreq=40MHz(0), RDIV=15(16MHz-1)
    blStatus = tmc9660_bl_sendCommand(tmc9660_id, TMC9660_BLCMD_SET_ADDRESS, CONFIG_BOOT_0C_CLK_SEL_INIT, &rVal);
    if (blStatus != TMC9660_BLSTATUS_OK) {
  	  ERR_Handler(__LINE__);
    }
    blStatus = tmc9660_bl_sendCommand(tmc9660_id, TMC9660_BLCMD_READ_32, 0, &reg);
    if (blStatus != TMC9660_BLSTATUS_OK) {
  	  ERR_Handler(__LINE__);
    }
    // TODO: Custom board will have to use Internal Oscillator
    // UPDATED TO Internal!!
    reg = field_update32(reg, CONFIG_BOOT_0C_CLK_SEL_INIT_EXT_NOT_INT_FIELD, 0);	/* 0: Internal 15MHz oscillator
  																				 * 1: External clock source selected by EXT_NOT_XTAL.
  																				 */

    reg = field_update32(reg, CONFIG_BOOT_0C_CLK_SEL_INIT_EXT_NOT_XTAL_FIELD, 0); /* 0: External oscillator
  																				 * 1: External clock
  																				 */
    reg = field_update32(reg, CONFIG_BOOT_0C_CLK_SEL_INIT_XTAL_BOOST_FIELD, 0);	// Default: 0
    reg = field_update32(reg, CONFIG_BOOT_0C_CLK_SEL_INIT_PLL_OUT_SEL_FIELD, 1);	/* 0. Use the internal oscillator
  																				 * 1: Use the PLL
  																				 * 2: RESERVED
  																				 * 3: RESERVED
  																				 */
    reg = field_update32(reg, CONFIG_BOOT_0C_CLK_SEL_INIT_RDIV_FIELD, 14);		/* Divider of the PLL input frequency. Must be set to the input frequency in
  																				 * MHz minus one.
  																				 * The internal oscillator has a frequency of 15 MHz. For Internal oscillator
  																				 * input (EXT_NOT_INT=0), RDIV must be set to 14.
  																				 * Default: 14
  																				 */
    reg = field_update32(reg, CONFIG_BOOT_0C_CLK_SEL_INIT_SYS_CLK_DIV_FIELD, 0);  /* 0: 40MHz
  																				 * 1: RESERVED
  																				 * 2: RESERVED
  																				 * 3: 15MHz
  																				 * Note: Only change this setting during the workaround for Erratum 1:
  																				 * Bootloader OTP_BURN Command.
  																				 */
    blStatus = tmc9660_bl_sendCommand(tmc9660_id, TMC9660_BLCMD_SET_ADDRESS, CONFIG_BOOT_0C_CLK_SEL_INIT, &rVal);
    if (blStatus != TMC9660_BLSTATUS_OK) {
  	  ERR_Handler(__LINE__);
    }
    blStatus = tmc9660_bl_sendCommand(tmc9660_id, TMC9660_BLCMD_WRITE_32, reg, &rVal);
    if (blStatus != TMC9660_BLSTATUS_OK) {
  	  ERR_Handler(__LINE__);
    }
    HAL_Delay(50); // PLL stabilization
    // TODO: read PLL_STATUS reg to confirm configuration correctness
    /* Note: Running the motor control system is only supported with system clock configured to 40 MHz (PLL_OUT_SEL=1
     * 	   with a valid PLL configuration and SYS_CLK_DIV=0).
     * Note: The clock configuration should be written with a single WRITE_32 or WRITE_32_INC command.
     */
    if (!tmc9660_app_VerifyPLLStatus(tmc9660_id)) {
		UART_Printf("FATAL: PLL Failed to lock at 40MHz. System clock unstable.\r\n");
		ERR_Handler(__LINE__);
	}

    // 6. APP CONFIG 0 (HALL)
    // Enable=true, U=2, V=3, W=4
    blStatus = tmc9660_bl_sendCommand(tmc9660_id, TMC9660_BLCMD_SET_ADDRESS, CONFIG_BOOT_10_APP_CONFIG_0, &rVal);
    if (blStatus != TMC9660_BLSTATUS_OK) {
  	  ERR_Handler(__LINE__);
    }
    blStatus = tmc9660_bl_sendCommand(tmc9660_id, TMC9660_BLCMD_READ_16, 0, &reg);
    if (blStatus != TMC9660_BLSTATUS_OK) {
  	  ERR_Handler(__LINE__);
    }
    reg = field_update16(reg, CONFIG_BOOT_10_APP_CONFIG_0_HALL_ENABLE_FIELD, 1);  // Default: 0
    reg = field_update16(reg, CONFIG_BOOT_10_APP_CONFIG_0_HALL_UX_FIELD, 0);		/* 0: GPIO2	<--
  																				 * 1: GPIO7
  																				 * 2: GPIO9
  																				 * 3: RESERVED
  																				 */
    reg = field_update16(reg, CONFIG_BOOT_10_APP_CONFIG_0_HALL_V_FIELD, 0);		/* 0: GPIO3	<--
  																				 * 1: GPIO15
  																				 * 2: RESERVED
  																				 * 3: RESERVED
  																				 */
    reg = field_update16(reg, CONFIG_BOOT_10_APP_CONFIG_0_HALL_WY_FIELD, 0);		/* 0: GPIO4	<--
  																				 * 1: GPIO8
  																				 * 2: GPIO10
  																				 * 3: RESERVED
  																				 */
    blStatus = tmc9660_bl_sendCommand(tmc9660_id, TMC9660_BLCMD_SET_ADDRESS, CONFIG_BOOT_10_APP_CONFIG_0, &rVal);
    if (blStatus != TMC9660_BLSTATUS_OK) {
  	  ERR_Handler(__LINE__);
    }
    blStatus = tmc9660_bl_sendCommand(tmc9660_id, TMC9660_BLCMD_WRITE_16, reg, &rVal);
    if (blStatus != TMC9660_BLSTATUS_OK) {
  	  ERR_Handler(__LINE__);
    }

    // 7. APP CONFIG 2 (WATCHDOG)
    // Enable=true(Disable=0), Timeout=2000ms(7)
    blStatus = tmc9660_bl_sendCommand(tmc9660_id, TMC9660_BLCMD_SET_ADDRESS, CONFIG_BOOT_12_APP_CONFIG_2, &rVal);
    if (blStatus != TMC9660_BLSTATUS_OK) {
  	  ERR_Handler(__LINE__);
    }
    blStatus = tmc9660_bl_sendCommand(tmc9660_id, TMC9660_BLCMD_READ_16, 0, &reg);
    if (blStatus != TMC9660_BLSTATUS_OK) {
  	  ERR_Handler(__LINE__);
    }
    reg = field_update16(reg, CONFIG_BOOT_12_APP_CONFIG_2_WDG_DISABLE_FIELD, 1);	// Default: 0
  //      reg = field_update16(reg, CONFIG_BOOT_12_APP_CONFIG_2_WDG_TIMEOUT_FIELD, 7); // removed, could not find documentation
    blStatus = tmc9660_bl_sendCommand(tmc9660_id, TMC9660_BLCMD_SET_ADDRESS, CONFIG_BOOT_12_APP_CONFIG_2, &rVal);
    if (blStatus != TMC9660_BLSTATUS_OK) {
  	  ERR_Handler(__LINE__);
    }
    blStatus = tmc9660_bl_sendCommand(tmc9660_id, TMC9660_BLCMD_WRITE_16, reg, &rVal);
    if (blStatus != TMC9660_BLSTATUS_OK) {
  	  ERR_Handler(__LINE__);
    }

    // 8. GPIO INIT (GPIO 5, 17, 18)
    // GPIO17/18: Input, Pulldown. GPIO5: Analog.
    blStatus = tmc9660_bl_sendCommand(tmc9660_id, TMC9660_BLCMD_SET_ADDRESS, CONFIG_BOOT_0B_GPIO_16_18_INIT, &rVal);
    if (blStatus != TMC9660_BLSTATUS_OK) {
  	  ERR_Handler(__LINE__);
    }
    blStatus = tmc9660_bl_sendCommand(tmc9660_id, TMC9660_BLCMD_READ_16, 0, &reg);
    if (blStatus != TMC9660_BLSTATUS_OK) {
  	  ERR_Handler(__LINE__);
    }
    reg = field_update16(reg, CONFIG_BOOT_0B_GPIO_16_18_INIT_GPIO17_OUT_EN_FIELD, 0); // Input
    reg = field_update16(reg, CONFIG_BOOT_0B_GPIO_16_18_INIT_GPIO17_PD_FIELD, 1);     // Pulldown
    reg = field_update16(reg, CONFIG_BOOT_0B_GPIO_16_18_INIT_GPIO18_OUT_EN_FIELD, 0); // Input
    reg = field_update16(reg, CONFIG_BOOT_0B_GPIO_16_18_INIT_GPIO18_PD_FIELD, 1);     // Pulldown
    reg = field_update16(reg, CONFIG_BOOT_0B_GPIO_16_18_INIT_GPIO5_ANALOG_EN_FIELD, 1);

    // Ensure GPIO 2, 3, 4 (Halls) are DIGITAL
    reg = field_update16(reg, CONFIG_BOOT_0B_GPIO_16_18_INIT_GPIO2_ANALOG_EN_FIELD, 0);
    reg = field_update16(reg, CONFIG_BOOT_0B_GPIO_16_18_INIT_GPIO3_ANALOG_EN_FIELD, 0);
    reg = field_update16(reg, CONFIG_BOOT_0B_GPIO_16_18_INIT_GPIO4_ANALOG_EN_FIELD, 0);

    blStatus = tmc9660_bl_sendCommand(tmc9660_id, TMC9660_BLCMD_WRITE_16, reg, &rVal);
    blStatus = tmc9660_bl_sendCommand(tmc9660_id, TMC9660_BLCMD_SET_ADDRESS, CONFIG_BOOT_0B_GPIO_16_18_INIT, &rVal);
    if (blStatus != TMC9660_BLSTATUS_OK) {
  	  ERR_Handler(__LINE__);
    }
    blStatus = tmc9660_bl_sendCommand(tmc9660_id, TMC9660_BLCMD_WRITE_16, reg, &rVal);
    if (blStatus != TMC9660_BLSTATUS_OK) {
  	  ERR_Handler(__LINE__);
    }

    // 9. BOOTSTRAP
    // Mode=Param(2), StartApp=true(1)
    blStatus = tmc9660_bl_sendCommand(tmc9660_id, TMC9660_BLCMD_SET_ADDRESS, CONFIG_BOOT_04_BOOTSTRAP, &rVal);
    if (blStatus != TMC9660_BLSTATUS_OK) {
  	  ERR_Handler(__LINE__);
    }
    blStatus = tmc9660_bl_sendCommand(tmc9660_id, TMC9660_BLCMD_READ_16, 0, &reg);
    if (blStatus != TMC9660_BLSTATUS_OK) {
  	  ERR_Handler(__LINE__);
    }
    reg = field_update16(reg, CONFIG_BOOT_04_BOOTSTRAP_BOOT_APP_FIELD, 2);		// I assume this field is BOOT_MODE from datasheet
  																				/* 0: RESERVED
  																				 * 1: Register mode
  																				 * 2: Parameter mode
  																				 * 3: RESERVED
  																				 */
    reg = field_update16(reg, CONFIG_BOOT_04_BOOTSTRAP_LOAD_ROM_CODE_FIELD, 1);	// I assume this field is START_MOTOR_CTRL from datasheet
  																				// Default: 0
    blStatus = tmc9660_bl_sendCommand(tmc9660_id, TMC9660_BLCMD_SET_ADDRESS, CONFIG_BOOT_04_BOOTSTRAP, &rVal);
    if (blStatus != TMC9660_BLSTATUS_OK) {
  	  ERR_Handler(__LINE__);
    }
    blStatus = tmc9660_bl_sendCommand(tmc9660_id, TMC9660_BLCMD_WRITE_16, reg, &rVal);
    if (blStatus != TMC9660_BLSTATUS_OK) {
  	  ERR_Handler(__LINE__);
    }

    // 10. FINAL BOOT
    UART_Printf("Soft-Config Applied. Transitioning to Parameter Mode...\r\n");
    // Note: confused whether BL cmd: CONFIG_BOOT_04_BOOTSTRAP_LOAD_ROM_CODE_FIELD or if param cmd: TMC9660_CMD_BOOT will start program
    HAL_Delay(200);

    uint32_t mV_voltage_motor = tmc9660_param_getParameter(tmc9660_id, TMC9660_PARAM_SUPPLY_VOLTAGE);
    if (mV_voltage_motor > 0) {
  	  tmc_detected = true;
  	  UART_Printf("SUCCESS: IC Active in Parameter Mode.\r\n");
  	  UART_Printf("VM: %d.%d\n", mV_voltage_motor / 10, mV_voltage_motor % 10); // unit conversion 100mV -> 1V
    }

    // 11. SOFTWARE ERROR CLEARING
    // Clear latched HALL_ERROR (0x20) and any early GDRV faults
    uint32_t sysMask = 0x00000020;
    uint32_t gdrvMask = 0xFFFFFFFF;
    tmc9660_app_ClearErrorsManual(tmc9660_id, sysMask, gdrvMask);
    HAL_Delay(50);

    // 12. CONFIGURE SAFETY LIMITS
    // Setting non-zero limits clears the R-only CONFIG_ERROR
    tmc9660_param_setParameter(tmc9660_id, TMC9660_PARAM_OUTPUT_VOLTAGE_LIMIT, 8000); // Default 25%
    tmc9660_param_setParameter(tmc9660_id, TMC9660_PARAM_MAX_TORQUE, 1000);           // 1A limit
    tmc9660_param_setParameter(tmc9660_id, TMC9660_PARAM_BREAK_BEFORE_MAKE_TIME_LOW_UVW, 60); // 500ns Deadtime
    tmc9660_param_setParameter(tmc9660_id, TMC9660_PARAM_BREAK_BEFORE_MAKE_TIME_HIGH_UVW, 60);

    // 13. BOOTSTRAP PRE-CHARGE
//    tmc9660_param_setParameter(tmc9660_id, TMC9660_PARAM_COMMUTATION_MODE, 1); // Low-side ON
    HAL_Delay(50);

    // 14. ENABLE HARDWARE DRIVE (PB3)
//    tmc9660_app_EnableDrive();

    // 15. START FOC HALL CONTROL
//    tmc9660_param_setParameter(tmc9660_id, TMC9660_PARAM_COMMUTATION_MODE, 6);
//    UART_Printf("FOC System Ready.\r\n");

//    // UNIT TESTS
//    tmc9660_app_setupQBL5704BLDCHallFeedbackTest(tmc9660_id);
//    bool test = tmc9660_app_alignQBL5704HallOffset(tmc9660_id);
//    if ( test == true ) {
//    	  UART_Printf("Motor Test Setup Success\n");
//    }
//    else
//    {
//  	  UART_Printf("Motor Test Setup Fail\n");
//    }
//
//    test = tmc9660_app_runQBL5704BLDCHallFeedbackTest(tmc9660_id);
//    if ( test == true ) {
//  	  UART_Printf("Motor Test Run Success\n");
//    }
//    else
//    {
//    	  UART_Printf("Motor Test Run Fail\n");
//    }

  /* USER CODE END 2 */

  /* Infinite loop */
  /* USER CODE BEGIN WHILE */
  while (1)
  {
	  tmc9660_app_DebugStatus(tmc9660_id);
	  HAL_Delay(1000);
    /* USER CODE END WHILE */

  }
}

void SystemClock_Config(void)
{
  RCC_OscInitTypeDef RCC_OscInitStruct = {0};
  RCC_ClkInitTypeDef RCC_ClkInitStruct = {0};

  /** Configure the main internal regulator output voltage
  */
  if (HAL_PWREx_ControlVoltageScaling(PWR_REGULATOR_VOLTAGE_SCALE1) != HAL_OK)
  {
    Error_Handler();
  }

  /** Initializes the RCC Oscillators according to the specified parameters
  * in the RCC_OscInitTypeDef structure.
  */
  RCC_OscInitStruct.OscillatorType = RCC_OSCILLATORTYPE_HSI|RCC_OSCILLATORTYPE_MSI;
  RCC_OscInitStruct.HSIState = RCC_HSI_ON;
  RCC_OscInitStruct.HSICalibrationValue = RCC_HSICALIBRATION_DEFAULT;
  RCC_OscInitStruct.MSIState = RCC_MSI_ON;
  RCC_OscInitStruct.MSICalibrationValue = 0;
  RCC_OscInitStruct.MSIClockRange = RCC_MSIRANGE_11;
  RCC_OscInitStruct.PLL.PLLState = RCC_PLL_ON;
  RCC_OscInitStruct.PLL.PLLSource = RCC_PLLSOURCE_HSI;
  RCC_OscInitStruct.PLL.PLLM = 1;
  RCC_OscInitStruct.PLL.PLLN = 10;
  RCC_OscInitStruct.PLL.PLLQ = RCC_PLLQ_DIV2;
  RCC_OscInitStruct.PLL.PLLR = RCC_PLLR_DIV2;
  if (HAL_RCC_OscConfig(&RCC_OscInitStruct) != HAL_OK)
  {
    Error_Handler();
  }

  /** Initializes the CPU, AHB and APB buses clocks
  */
  RCC_ClkInitStruct.ClockType = RCC_CLOCKTYPE_HCLK|RCC_CLOCKTYPE_SYSCLK
                              |RCC_CLOCKTYPE_PCLK1|RCC_CLOCKTYPE_PCLK2;
  RCC_ClkInitStruct.SYSCLKSource = RCC_SYSCLKSOURCE_PLLCLK;
  RCC_ClkInitStruct.AHBCLKDivider = RCC_SYSCLK_DIV1;
  RCC_ClkInitStruct.APB1CLKDivider = RCC_HCLK_DIV1;
  RCC_ClkInitStruct.APB2CLKDivider = RCC_HCLK_DIV1;

  if (HAL_RCC_ClockConfig(&RCC_ClkInitStruct, FLASH_LATENCY_4) != HAL_OK)
  {
    Error_Handler();
  }
}

static void MX_USART1_UART_Init(void)
{

  huart1.Instance = USART1;
  huart1.Init.BaudRate = 115200;
  huart1.Init.WordLength = UART_WORDLENGTH_8B;
  huart1.Init.StopBits = UART_STOPBITS_1;
  huart1.Init.Parity = UART_PARITY_NONE;
  huart1.Init.Mode = UART_MODE_TX_RX;
  huart1.Init.HwFlowCtl = UART_HWCONTROL_NONE;
  huart1.Init.OverSampling = UART_OVERSAMPLING_16;
  huart1.Init.OneBitSampling = UART_ONE_BIT_SAMPLE_DISABLE;
  huart1.AdvancedInit.AdvFeatureInit = UART_ADVFEATURE_NO_INIT;
  if (HAL_UART_Init(&huart1) != HAL_OK)
  {
    Error_Handler();
  }

}

static void MX_GPIO_Init(void)
{
  GPIO_InitTypeDef GPIO_InitStruct = {0};

  /* GPIO Ports Clock Enable */
  __HAL_RCC_GPIOA_CLK_ENABLE();
  __HAL_RCC_GPIOB_CLK_ENABLE();

  /*Configure GPIO pin Output Level */
  HAL_GPIO_WritePin(GPIOA, GPIO_PIN_4|GPIO_PIN_5|GPIO_PIN_15, GPIO_PIN_RESET);

  /*Configure GPIO pin Output Level */
  HAL_GPIO_WritePin(GPIOB, GPIO_PIN_0|GPIO_PIN_1|GPIO_PIN_12|GPIO_PIN_3
                          |GPIO_PIN_8, GPIO_PIN_RESET);

  /*Configure GPIO pins : PA1 PA6 */
  GPIO_InitStruct.Pin = GPIO_PIN_1|GPIO_PIN_6;
  GPIO_InitStruct.Mode = GPIO_MODE_AF_PP;
  GPIO_InitStruct.Pull = GPIO_NOPULL;
  GPIO_InitStruct.Speed = GPIO_SPEED_FREQ_VERY_HIGH;
  GPIO_InitStruct.Alternate = GPIO_AF5_SPI1;
  HAL_GPIO_Init(GPIOA, &GPIO_InitStruct);

  /*Configure GPIO pins : PA2 PA3 */
  GPIO_InitStruct.Pin = GPIO_PIN_2|GPIO_PIN_3;
  GPIO_InitStruct.Mode = GPIO_MODE_AF_PP;
  GPIO_InitStruct.Pull = GPIO_NOPULL;
  GPIO_InitStruct.Speed = GPIO_SPEED_FREQ_VERY_HIGH;
  GPIO_InitStruct.Alternate = GPIO_AF7_USART2;
  HAL_GPIO_Init(GPIOA, &GPIO_InitStruct);

  /*Configure GPIO pins : PA4 PA5 PA15 */
  GPIO_InitStruct.Pin = GPIO_PIN_4|GPIO_PIN_5|GPIO_PIN_15;
  GPIO_InitStruct.Mode = GPIO_MODE_OUTPUT_PP;
  GPIO_InitStruct.Pull = GPIO_NOPULL;
  GPIO_InitStruct.Speed = GPIO_SPEED_FREQ_LOW;
  HAL_GPIO_Init(GPIOA, &GPIO_InitStruct);

  /*Configure GPIO pin : PA7 */
  GPIO_InitStruct.Pin = GPIO_PIN_7;
  GPIO_InitStruct.Mode = GPIO_MODE_AF_OD;
  GPIO_InitStruct.Pull = GPIO_NOPULL;
  GPIO_InitStruct.Speed = GPIO_SPEED_FREQ_VERY_HIGH;
  GPIO_InitStruct.Alternate = GPIO_AF4_I2C3;
  HAL_GPIO_Init(GPIOA, &GPIO_InitStruct);

  /*Configure GPIO pins : PB0 PB1 PB12 PB3
                           PB8 */
  GPIO_InitStruct.Pin = GPIO_PIN_0|GPIO_PIN_1|GPIO_PIN_12|GPIO_PIN_3
                          |GPIO_PIN_8;
  GPIO_InitStruct.Mode = GPIO_MODE_OUTPUT_PP;
  GPIO_InitStruct.Pull = GPIO_NOPULL;
  GPIO_InitStruct.Speed = GPIO_SPEED_FREQ_LOW;
  HAL_GPIO_Init(GPIOB, &GPIO_InitStruct);

  /*Configure GPIO pins : PB10 PB11 */
  GPIO_InitStruct.Pin = GPIO_PIN_10|GPIO_PIN_11;
  GPIO_InitStruct.Mode = GPIO_MODE_AF_OD;
  GPIO_InitStruct.Pull = GPIO_NOPULL;
  GPIO_InitStruct.Speed = GPIO_SPEED_FREQ_VERY_HIGH;
  GPIO_InitStruct.Alternate = GPIO_AF4_I2C2;
  HAL_GPIO_Init(GPIOB, &GPIO_InitStruct);

  /*Configure GPIO pins : PB13 PB14 PB15 */
  GPIO_InitStruct.Pin = GPIO_PIN_13|GPIO_PIN_14|GPIO_PIN_15;
  GPIO_InitStruct.Mode = GPIO_MODE_AF_PP;
  GPIO_InitStruct.Pull = GPIO_NOPULL;
  GPIO_InitStruct.Speed = GPIO_SPEED_FREQ_VERY_HIGH;
  GPIO_InitStruct.Alternate = GPIO_AF5_SPI2;
  HAL_GPIO_Init(GPIOB, &GPIO_InitStruct);

  /*Configure GPIO pins : PA9 PA10 */
  GPIO_InitStruct.Pin = GPIO_PIN_9|GPIO_PIN_10;
  GPIO_InitStruct.Mode = GPIO_MODE_AF_OD;
  GPIO_InitStruct.Pull = GPIO_NOPULL;
  GPIO_InitStruct.Speed = GPIO_SPEED_FREQ_VERY_HIGH;
  GPIO_InitStruct.Alternate = GPIO_AF4_I2C1;
  HAL_GPIO_Init(GPIOA, &GPIO_InitStruct);

  /*Configure GPIO pin : PB4 */
  GPIO_InitStruct.Pin = GPIO_PIN_4;
  GPIO_InitStruct.Mode = GPIO_MODE_AF_OD;
  GPIO_InitStruct.Pull = GPIO_NOPULL;
  GPIO_InitStruct.Speed = GPIO_SPEED_FREQ_VERY_HIGH;
  GPIO_InitStruct.Alternate = GPIO_AF4_I2C3;
  HAL_GPIO_Init(GPIOB, &GPIO_InitStruct);

  /*Configure GPIO pin : PB5 */
  GPIO_InitStruct.Pin = GPIO_PIN_5;
  GPIO_InitStruct.Mode = GPIO_MODE_AF_PP;
  GPIO_InitStruct.Pull = GPIO_NOPULL;
  GPIO_InitStruct.Speed = GPIO_SPEED_FREQ_VERY_HIGH;
  GPIO_InitStruct.Alternate = GPIO_AF5_SPI1;
  HAL_GPIO_Init(GPIOB, &GPIO_InitStruct);

  /*Configure GPIO pin : PB9 */
  GPIO_InitStruct.Pin = GPIO_PIN_9;
  GPIO_InitStruct.Mode = GPIO_MODE_INPUT;
  GPIO_InitStruct.Pull = GPIO_NOPULL;
  HAL_GPIO_Init(GPIOB, &GPIO_InitStruct);

}

void Error_Handler(void)
{
  __disable_irq();
  while (1)
  {
  }
}
